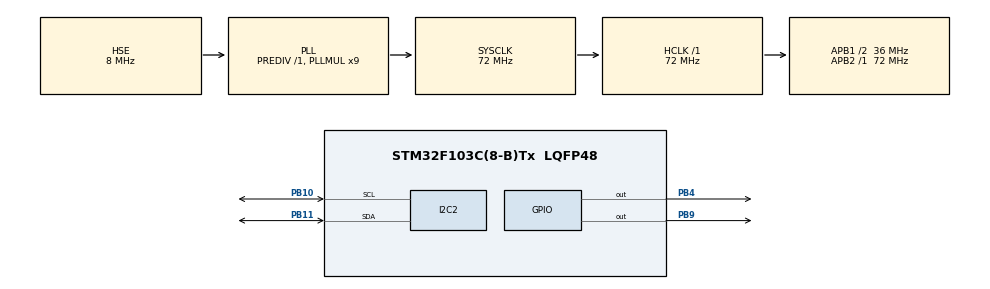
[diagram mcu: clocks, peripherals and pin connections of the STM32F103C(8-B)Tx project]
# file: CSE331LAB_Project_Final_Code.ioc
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I2C2.I2C_Mode=I2C_Fast
Mcu.Family=STM32F1
Mcu.Name=STM32F103C(8-B)Tx
Mcu.Package=LQFP48
NVIC.PriorityGroup=NVIC_PRIORITYGROUP_4
PA13.Mode=Serial_Wire
PA13.Signal=SYS_JTMS-SWDIO
PA14.Mode=Serial_Wire
PA14.Signal=SYS_JTCK-SWCLK
PB10.Mode=I2C
PB10.Signal=I2C2_SCL
PB11.Mode=I2C
PB11.Signal=I2C2_SDA
PB4.Signal=GPIO_Output
PB9.Signal=GPIO_Output
PD0-OSC_IN.Mode=HSE-External-Oscillator
PD0-OSC_IN.Signal=RCC_OSC_IN
PD1-OSC_OUT.Mode=HSE-External-Oscillator
PD1-OSC_OUT.Signal=RCC_OSC_OUT
ProjectManager.HeapSize=0x200
ProjectManager.StackSize=0x400
ProjectManager.TargetToolchain=STM32CubeIDE
RCC.AHBFreq_Value=72000000
RCC.APB1CLKDivider=RCC_HCLK_DIV2
RCC.APB1Freq_Value=36000000
RCC.APB1TimFreq_Value=72000000
RCC.APB2Freq_Value=72000000
RCC.APB2TimFreq_Value=72000000
RCC.HCLKFreq_Value=72000000
RCC.PLLMUL=RCC_PLL_MUL9
RCC.PLLSourceVirtual=RCC_PLLSOURCE_HSE
RCC.SYSCLKFreq_VALUE=72000000
RCC.SYSCLKSource=RCC_SYSCLKSOURCE_PLLCLK
RCC.USBFreq_Value=72000000
TIM1.Prescaler=71
VP_TIM1_VS_ClockSourceINT.Mode=Internal
board=custom

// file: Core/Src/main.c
/* USER CODE BEGIN Header */
/**
  ******************************************************************************
  * @file           : main.c
  * @brief          : Main program body
  ******************************************************************************
  * @attention
  *
  * Copyright (c) 2024 STMicroelectronics.
  * All rights reserved.
  *
  * This software is licensed under terms that can be found in the LICENSE file
  * in the root directory of this software component.
  * If no LICENSE file comes with this software, it is provided AS-IS.
  *
  ******************************************************************************
  */
/* USER CODE END Header */
#include "main.h"

/* USER CODE BEGIN Includes */
#include "fonts.h"
#include "ssd1306.h"
#include "stdio.h"
/* USER CODE END Includes */

I2C_HandleTypeDef hi2c2;

TIM_HandleTypeDef htim1;

void SystemClock_Config(void);
static void MX_GPIO_Init(void);
static void MX_TIM1_Init(void);
static void MX_I2C2_Init(void);

/* USER CODE BEGIN 0 */
#define DHT11_PORT GPIOB
#define DHT11_PIN GPIO_PIN_9
#define BUZZER_PORT GPIOB
#define BUZZER_PIN GPIO_PIN_4
uint8_t RHI, RHD, maxRHI, maxRHD, minRHI, minRHD, TCI, TCD, SUM, maxTCI, maxTCD, minTCI, minTCD;
uint32_t pMillis, cMillis, startMillis;
float tCelsius = 0;
float tFahrenheit = 0;
float RH = 0;
uint8_t TFI = 0;
uint8_t TFD = 0;
char strCopy[15];

// Variables to store max and min values
float maxTemp = -100.0, minTemp = 100.0;
float maxHum = 0.0, minHum = 100.0;

void microDelay (uint16_t delay)
{
  __HAL_TIM_SET_COUNTER(&htim1, 0);
  while (__HAL_TIM_GET_COUNTER(&htim1) < delay);
}

uint8_t DHT11_Start (void)
{
  uint8_t Response = 0;
  GPIO_InitTypeDef GPIO_InitStructPrivate = {0};
  GPIO_InitStructPrivate.Pin = DHT11_PIN;
  GPIO_InitStructPrivate.Mode = GPIO_MODE_OUTPUT_PP;
  GPIO_InitStructPrivate.Speed = GPIO_SPEED_FREQ_LOW;
  GPIO_InitStructPrivate.Pull = GPIO_NOPULL;
  HAL_GPIO_Init(DHT11_PORT, &GPIO_InitStructPrivate); // set the pin as output
  HAL_GPIO_WritePin (DHT11_PORT, DHT11_PIN, 0);   // pull the pin low
  HAL_Delay(20);   // wait for 20ms
  HAL_GPIO_WritePin (DHT11_PORT, DHT11_PIN, 1);   // pull the pin high
  microDelay (30);   // wait for 30us
  GPIO_InitStructPrivate.Mode = GPIO_MODE_INPUT;
  GPIO_InitStructPrivate.Pull = GPIO_PULLUP;
  HAL_GPIO_Init(DHT11_PORT, &GPIO_InitStructPrivate); // set the pin as input
  microDelay (40);
  if (!(HAL_GPIO_ReadPin (DHT11_PORT, DHT11_PIN)))
  {
    microDelay (80);
    if ((HAL_GPIO_ReadPin (DHT11_PORT, DHT11_PIN))) Response = 1;
  }
  pMillis = HAL_GetTick();
  cMillis = HAL_GetTick();
  while ((HAL_GPIO_ReadPin (DHT11_PORT, DHT11_PIN)) && pMillis + 2 > cMillis)
  {
    cMillis = HAL_GetTick();
  }
  return Response;
}

uint8_t DHT11_Read (void)
{
  uint8_t a,b;
  for (a=0;a<8;a++)
  {
    pMillis = HAL_GetTick();
    cMillis = HAL_GetTick();
    while (!(HAL_GPIO_ReadPin (DHT11_PORT, DHT11_PIN)) && pMillis + 2 > cMillis)
    {  // wait for the pin to go high
      cMillis = HAL_GetTick();
    }
    microDelay (40);   // wait for 40 us
    if (!(HAL_GPIO_ReadPin (DHT11_PORT, DHT11_PIN)))   // if the pin is low
      b&= ~(1<<(7-a));
    else
      b|= (1<<(7-a));
    pMillis = HAL_GetTick();
    cMillis = HAL_GetTick();
    while ((HAL_GPIO_ReadPin (DHT11_PORT, DHT11_PIN)) && pMillis + 2 > cMillis)
    {  // wait for the pin to go low
      cMillis = HAL_GetTick();
    }
  }
  return b;
}

void BuzzerInit(void) {
    GPIO_InitTypeDef GPIO_InitStruct;
    GPIO_InitStruct.Pin = BUZZER_PIN;
    GPIO_InitStruct.Mode = GPIO_MODE_OUTPUT_PP;
    GPIO_InitStruct.Speed = GPIO_SPEED_FREQ_LOW;
    HAL_GPIO_Init(BUZZER_PORT, &GPIO_InitStruct);
    HAL_GPIO_WritePin(BUZZER_PORT, BUZZER_PIN, GPIO_PIN_RESET);
}

void BuzzerOn(void) {
    HAL_GPIO_WritePin(BUZZER_PORT, BUZZER_PIN, GPIO_PIN_SET);
}

void BuzzerOff(void) {
    HAL_GPIO_WritePin(BUZZER_PORT, BUZZER_PIN, GPIO_PIN_RESET);
}

/* USER CODE END 0 */

int main(void)
{

  /* MCU Configuration--------------------------------------------------------*/

  /* Reset of all peripherals, Initializes the Flash interface and the Systick. */
  HAL_Init();

  /* Configure the system clock */
  SystemClock_Config();

  /* Initialize all configured peripherals */
  MX_GPIO_Init();
  MX_TIM1_Init();
  MX_I2C2_Init();
  /* USER CODE BEGIN 2 */
  HAL_TIM_Base_Start(&htim1);
  SSD1306_Init();

  startMillis = HAL_GetTick(); // Initialize the startMillis

//  sprintf(strCopy,"Welcome ");
//  SSD1306_GotoXY (0, 0);
//  SSD1306_Puts (strCopy, &Font_11x18, 1);
//  sprintf(strCopy,"To CSE331L");
//  SSD1306_GotoXY (0, 20);
//  SSD1306_Puts (strCopy, &Font_11x18, 1);
//  HAL_Delay(500);
//  SSD1306_Clear();

  /* USER CODE END 2 */

  /* Infinite loop */
  /* USER CODE BEGIN WHILE */
  while (1)
  {

	  if(DHT11_Start())
	      {
	        RHI = DHT11_Read(); // Relative humidity integral
	        RHD = DHT11_Read(); // Relative humidity decimal
	        TCI = DHT11_Read(); // Celsius integral
	        TCD = DHT11_Read(); // Celsius decimal
	        SUM = DHT11_Read(); // Check sum
	        if (RHI + RHD + TCI + TCD == SUM)
	        {
	          // Can use RHI and TCI for any purposes if whole number only needed
	          tCelsius = (float)TCI + (float)(TCD/10.0);
	          tFahrenheit = tCelsius * 9/5 + 32;
	          RH = (float)RHI + (float)(RHD/10.0);
	          // Can use tCelsius, tFahrenheit and RH for any purposes
	          TFI = tFahrenheit;  // Fahrenheit integral
	          TFD = tFahrenheit*10-TFI*10; // Fahrenheit decimal

	          if (tCelsius >= 35){
	        	  BuzzerOn();
	          } else {
	        	  BuzzerOff();
	          }
	          // Update max and min values
	          if(tCelsius > maxTemp){
	        	  maxTemp = tCelsius;
	        	  maxTCI = TCI;
				  maxTCD = TCD;
	          }
	          if(tCelsius < minTemp){
	        	  minTemp = tCelsius;
	        	  minTCI = TCI;
	        	  minTCD = TCD;
	          }
	          if(RH > maxHum){
	        	  maxHum = RH;
	        	  maxRHI = RHI;
	        	  maxRHD = RHD;
	          }
	          if(RH < minHum){
	        	  minHum = RH;
	        	  minRHI = RHI;
	        	  minRHD = RHD;
	          }

	          sprintf(strCopy,"%d.%d C   ", TCI, TCD);
	          SSD1306_GotoXY (0, 0);
	          SSD1306_Puts (strCopy, &Font_11x18, 1);
	          sprintf(strCopy,"%d.%d F   ", TFI, TFD);
	          SSD1306_GotoXY (0, 20);
	          SSD1306_Puts (strCopy, &Font_11x18, 1);
	          sprintf(strCopy,"%d.%d %%  ", RHI, RHD);
	          SSD1306_GotoXY (0, 40);
	          SSD1306_Puts (strCopy, &Font_11x18, 1);
	          SSD1306_UpdateScreen();
	        }
	      }

	      // Check if 5 seconds have passed
	      if (HAL_GetTick() - startMillis >= 5000)
	      {
	    	  // Display max and min values
	    	  SSD1306_Clear();
	          sprintf(strCopy,"Max: %d.%d C", maxTCI, maxTCD);
	          SSD1306_GotoXY (0, 0);
	          SSD1306_Puts (strCopy, &Font_11x18, 1);
	          sprintf(strCopy,"Min: %d.%d C", minTCI, minTCD);
	          SSD1306_GotoXY (0, 20);
	          SSD1306_Puts (strCopy, &Font_11x18, 1);
	          sprintf(strCopy,"Max: %d.%d %%", maxRHI, maxRHD);
	          SSD1306_GotoXY (0, 40);
	          SSD1306_Puts (strCopy, &Font_11x18, 1);
	          sprintf(strCopy,"Min: %d.%d %%", minRHI, minRHD);
	          SSD1306_GotoXY (0, 60);
	          SSD1306_Puts (strCopy, &Font_11x18, 1);
	          SSD1306_UpdateScreen();

	          // Reset the timer
	          startMillis = HAL_GetTick();
	      }

	      HAL_Delay(2000);
    /* USER CODE END WHILE */

  }
}

void SystemClock_Config(void)
{
  RCC_OscInitTypeDef RCC_OscInitStruct = {0};
  RCC_ClkInitTypeDef RCC_ClkInitStruct = {0};

  /** Initializes the RCC Oscillators according to the specified parameters
  * in the RCC_OscInitTypeDef structure.
  */
  RCC_OscInitStruct.OscillatorType = RCC_OSCILLATORTYPE_HSE;
  RCC_OscInitStruct.HSEState = RCC_HSE_ON;
  RCC_OscInitStruct.HSEPredivValue = RCC_HSE_PREDIV_DIV1;
  RCC_OscInitStruct.HSIState = RCC_HSI_ON;
  RCC_OscInitStruct.PLL.PLLState = RCC_PLL_ON;
  RCC_OscInitStruct.PLL.PLLSource = RCC_PLLSOURCE_HSE;
  RCC_OscInitStruct.PLL.PLLMUL = RCC_PLL_MUL9;
  if (HAL_RCC_OscConfig(&RCC_OscInitStruct) != HAL_OK)
  {
    Error_Handler();
  }

  /** Initializes the CPU, AHB and APB buses clocks
  */
  RCC_ClkInitStruct.ClockType = RCC_CLOCKTYPE_HCLK|RCC_CLOCKTYPE_SYSCLK
                              |RCC_CLOCKTYPE_PCLK1|RCC_CLOCKTYPE_PCLK2;
  RCC_ClkInitStruct.SYSCLKSource = RCC_SYSCLKSOURCE_PLLCLK;
  RCC_ClkInitStruct.AHBCLKDivider = RCC_SYSCLK_DIV1;
  RCC_ClkInitStruct.APB1CLKDivider = RCC_HCLK_DIV2;
  RCC_ClkInitStruct.APB2CLKDivider = RCC_HCLK_DIV1;

  if (HAL_RCC_ClockConfig(&RCC_ClkInitStruct, FLASH_LATENCY_2) != HAL_OK)
  {
    Error_Handler();
  }
}

static void MX_I2C2_Init(void)
{

  hi2c2.Instance = I2C2;
  hi2c2.Init.ClockSpeed = 400000;
  hi2c2.Init.DutyCycle = I2C_DUTYCYCLE_2;
  hi2c2.Init.OwnAddress1 = 0;
  hi2c2.Init.AddressingMode = I2C_ADDRESSINGMODE_7BIT;
  hi2c2.Init.DualAddressMode = I2C_DUALADDRESS_DISABLE;
  hi2c2.Init.OwnAddress2 = 0;
  hi2c2.Init.GeneralCallMode = I2C_GENERALCALL_DISABLE;
  hi2c2.Init.NoStretchMode = I2C_NOSTRETCH_DISABLE;
  if (HAL_I2C_Init(&hi2c2) != HAL_OK)
  {
    Error_Handler();
  }

}

static void MX_TIM1_Init(void)
{

  TIM_ClockConfigTypeDef sClockSourceConfig = {0};
  TIM_MasterConfigTypeDef sMasterConfig = {0};

  htim1.Instance = TIM1;
  htim1.Init.Prescaler = 71;
  htim1.Init.CounterMode = TIM_COUNTERMODE_UP;
  htim1.Init.Period = 65535;
  htim1.Init.ClockDivision = TIM_CLOCKDIVISION_DIV1;
  htim1.Init.RepetitionCounter = 0;
  htim1.Init.AutoReloadPreload = TIM_AUTORELOAD_PRELOAD_DISABLE;
  if (HAL_TIM_Base_Init(&htim1) != HAL_OK)
  {
    Error_Handler();
  }
  sClockSourceConfig.ClockSource = TIM_CLOCKSOURCE_INTERNAL;
  if (HAL_TIM_ConfigClockSource(&htim1, &sClockSourceConfig) != HAL_OK)
  {
    Error_Handler();
  }
  sMasterConfig.MasterOutputTrigger = TIM_TRGO_RESET;
  sMasterConfig.MasterSlaveMode = TIM_MASTERSLAVEMODE_DISABLE;
  if (HAL_TIMEx_MasterConfigSynchronization(&htim1, &sMasterConfig) != HAL_OK)
  {
    Error_Handler();
  }

}

static void MX_GPIO_Init(void)
{
  GPIO_InitTypeDef GPIO_InitStruct = {0};

  /* GPIO Ports Clock Enable */
  __HAL_RCC_GPIOD_CLK_ENABLE();
  __HAL_RCC_GPIOB_CLK_ENABLE();
  __HAL_RCC_GPIOA_CLK_ENABLE();

  /*Configure GPIO pin Output Level */
  HAL_GPIO_WritePin(GPIOB, GPIO_PIN_4|GPIO_PIN_9, GPIO_PIN_RESET);

  /*Configure GPIO pins : PB4 PB9 */
  GPIO_InitStruct.Pin = GPIO_PIN_4|GPIO_PIN_9;
  GPIO_InitStruct.Mode = GPIO_MODE_OUTPUT_PP;
  GPIO_InitStruct.Pull = GPIO_NOPULL;
  GPIO_InitStruct.Speed = GPIO_SPEED_FREQ_LOW;
  HAL_GPIO_Init(GPIOB, &GPIO_InitStruct);

}

void Error_Handler(void)
{
  __disable_irq();
  while (1)
  {
  }
}
